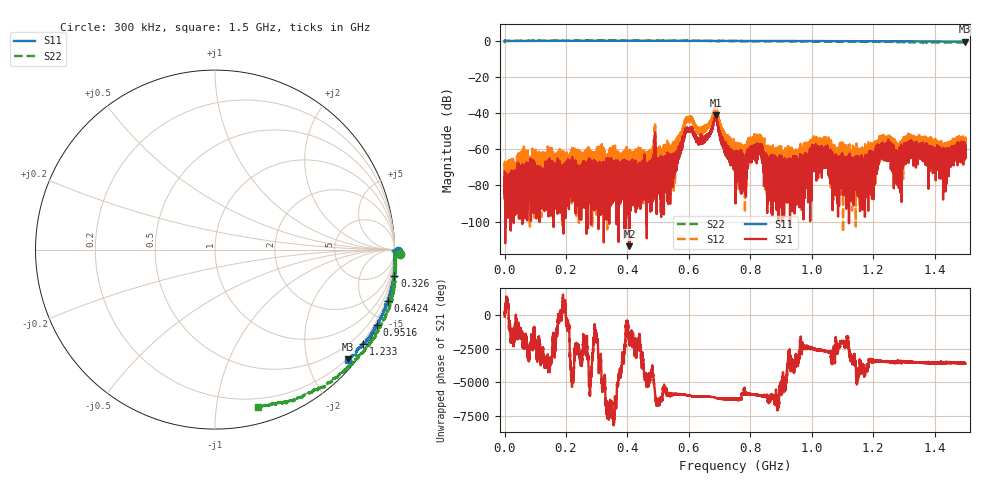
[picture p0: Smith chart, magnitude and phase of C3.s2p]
!Agilent Technologies,N5230C,SG49000117,A.08.50.07
!Agilent N5230C: A.08.50.07
!Date: Thursday, December 07, 2023 05:41:48
!Correction: S11(Full 2 Port(1,2))
!S21(Full 2 Port(1,2))
!S12(Full 2 Port(1,2))
!S22(Full 2 Port(1,2))
!S2P File: Measurements: S11, S21, S12, S22:
# Hz S  RI  R 50
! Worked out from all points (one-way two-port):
!   20001 points, 300 kHz to 1.5 GHz, reference 50 ohm
!   highest |S21| = -41.19 dB at 687.9 MHz (marker M1); lowest = -113.6 dB at 406.4 MHz (marker M2)
!   lowest |S11| = -0.4 dB at 1.497 GHz (marker M3), VSWR 48.19, Z = 9.01 - j138 ohm
!   |S11| at or under -10 dB: nowhere
!   |S22| runs from -0.9 to 0.3 dB; largest |S21 - S12| = 0.0084
!   S11 on the Smith chart (normalised r, x): 300 kHz: -84, -49; 326 MHz: -1, -14; 642.4 MHz: -0.15, -6.85; 951.6 MHz: 0.05, -4.52; 1.233 GHz: 0.14, -3.42; 1.5 GHz: 0.17, -2.76
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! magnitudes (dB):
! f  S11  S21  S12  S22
! 300 kHz  0.2  -72.4  -67.8  0.2
! 250.3 MHz  0.1  -75.0  -72.3  0.2
! 326 MHz  0.1  -76.6  -63.5  0.2
! 406.4 MHz  0.1  -113.6  -69.5  0.2
! 462.4 MHz  0.1  -78.8  -75.2  0.1
! 486.6 MHz  0.1  -68.1  -61.6  0.1
! 500.2 MHz  0.1  -65.5  -71.9  0.2
! 553.3 MHz  0.1  -67.8  -64.4  0.1
! 593.6 MHz  0.0  -49.0  -42.9  0.1
! 642.4 MHz  0.1  -55.3  -48.4  0.0
! 687.9 MHz  0.0  -41.2  -36.3  -0.2
! 750.1 MHz  0.0  -69.1  -61.9  0.0
! 826.9 MHz  0.0  -59.4  -53.1  -0.1
! 856.6 MHz  0.0  -67.3  -66.5  -0.2
! 951.6 MHz  0.0  -75.5  -78.1  -0.2
! 1 GHz  -0.1  -67.6  -58.6  -0.2
! 1.155 GHz  -0.1  -73.8  -69.6  -0.5
! 1.233 GHz  -0.2  -61.2  -55.3  -0.5
! 1.25 GHz  -0.2  -59.6  -57.7  -0.5
! 1.279 GHz  -0.2  -66.6  -61.1  -0.6
! 1.497 GHz  -0.4  -57.5  -54.2  -0.8
! 1.5 GHz  -0.3  -59.7  -53.8  -0.9
